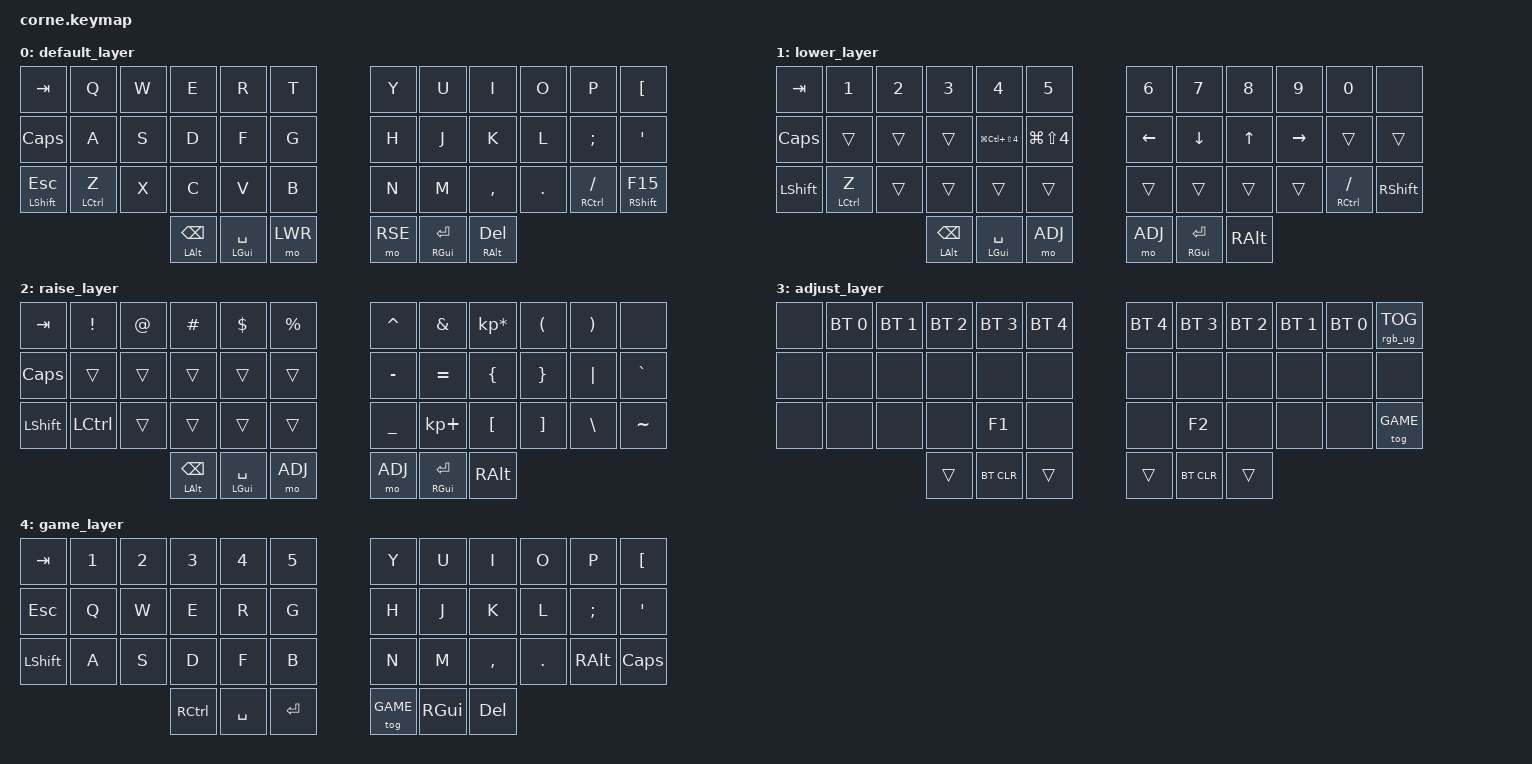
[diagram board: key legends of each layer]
/*
 * Copyright (c) 2020 The ZMK Contributors
 *
 * SPDX-License-Identifier: MIT
 */

#include <behaviors.dtsi>
#include <dt-bindings/zmk/keys.h>
#include <dt-bindings/zmk/bt.h>
#include <dt-bindings/zmk/rgb.h>

#define DFLT 0
#define LWR 1
#define RSE 2
#define ADJ 3
#define GAME 4

#define NONE 0

/ {
        keymap {
                compatible = "zmk,keymap";

                default_layer {
// -----------------------------------------------------------------------------------------
// |  TAB |  Q  |  W  |  E  |  R  |  T  |   |  Y  |  U   |  I  |  O  |  P  | [    |
// | CAPS |  A  |  S  |  D  |  F  |  G  |   |  H  |  J   |  K  |  L  |  ;  |  '   |
// | SHFT F16 |  Z  |  X  |  C  |  V  |  B  |   |  N  |  M   |  ,  |  .  |  /  | SHFT F17|
//                    | GUI | SPC | LWR |   | ENT | RSE  | ALT |
                        bindings = <
   &kp TAB   &kp Q       &kp W &kp E &kp R &kp T   &kp Y &kp U  &kp I     &kp O   &kp P    &kp LBKT
   &kp CAPS  &kp A       &kp S &kp D &kp F &kp G   &kp H &kp J  &kp K     &kp L   &kp SEMI &kp SQT
   &mt LSHFT ESC  &mt LCTRL Z &kp X &kp C &kp V &kp B   &kp N &kp M  &kp COMMA &kp DOT &mt RCTRL FSLH &mt RSHFT F15
        &mt LALT BSPC &mt LGUI SPACE &mo LWR     &mo RSE &mt RGUI RET &mt RALT DEL
                        >;
                };
                lower_layer {
// -----------------------------------------------------------------------------------------
// |  TAB |  1  |  2  |  3  |  4        |  5  |   |  6  |  7  |  8  |  9  |  0  |      |
// | CAPS |     |     |     | sreenshot |     |   | LFT | DWN |  UP | RGT |     |      |
// | SHFT |  LCTRL Z |     |     |           |     |   |     |     |     |     |     |      |
//                    | GUI |           | SPC |   | ENT |     | ALT |
                        bindings = <
   &kp TAB  &kp N1       &kp N2      &kp N3    &kp N4                 &kp N5                  &kp N6   &kp N7   &kp N8 &kp N9    &kp N0 &none 
   &kp CAPS   &trans       &trans      &trans    &kp LG(LC(LS(N4)))     &kp LG(LS(N4))          &kp LEFT &kp DOWN &kp UP &kp RIGHT &trans &trans
   &kp LSHFT  &mt LCTRL Z    &trans      &trans    &trans                 &trans                  &trans   &trans   &trans &trans    &mt RCTRL FSLH  &kp RSHFT 
                           &mt LALT BSPC    &mt LGUI SPACE     &mo ADJ                          &mo ADJ  &mt RGUI RET &kp RALT
                        >;
                };

                raise_layer {
// ------------------------------------------------------------------------------------------
// |  TAB |  !  |  @  |  #  |  $  |  %  |   |  ^  |  &  |  *  |  (  |  )  | BKSP |
// | CTRL |     |     |     |     |     |   |  -  |  =  |  {  |  }  | "|" |  `   |
// | SHFT |     |     |     |     |     |   |  _  |  +  |  [  |  ]  |  \ |  ~  | // TODO: Fix this row when &mkp is committed
//                    | GUI |     | SPC |   | ENT |     | ALT |
                        bindings = <
   &kp  TAB  &kp EXCL  &kp AT  &kp HASH  &kp DLLR  &kp PRCNT               &kp CARET  &kp AMPS      &kp KP_MULTIPLY  &kp LPAR    &kp RPAR &none 
   &kp CAPS  &trans    &trans  &trans    &trans    &trans                  &kp MINUS  &kp EQUAL     &kp LBRC         &kp RBRC    &kp PIPE &kp GRAVE
   &kp LSHFT &kp LCTRL &trans  &trans    &trans    &trans                  &kp UNDER  &kp KP_PLUS   &kp LBKT         &kp RBKT    &kp BSLH &kp TILDE
                                   &mt LALT BSPC &mt LGUI SPACE &mo ADJ    &mo ADJ &mt RGUI RET &kp RALT
                        >;
                };

                adjust_layer {
// -----------------------------------------------------------------------------------------------
//       | RGBTOG| BT0 | BT1 | BT2 | BT3  | BT4 |   | BT4 | BT3  | BT2 | BT1 | BT0 |       |                          
//       |       |     |     |     |      |     |   |     |      |     |     |     |       |
//       |       |     |     |     | F1   |     |   |     | F2   |     |     |     |       |
//                           |     | BTCLR|     |   |     | BTCLR|     |
                        bindings = <
   &none   &bt BT_SEL 0    &bt BT_SEL 1    &bt BT_SEL 2    &bt BT_SEL 3 &bt BT_SEL 4   &bt BT_SEL 4 &bt BT_SEL 3 &bt BT_SEL 2    &bt BT_SEL 1    &bt BT_SEL 0    &rgb_ug RGB_TOG
   &none   &none           &none           &none           &none        &none          &none        &none        &none           &none           &none           &none 
   &none   &none           &none           &none           &kp F1       &none          &none        &kp F2       &none           &none           &none           &tog GAME 
                                                                 &trans &bt BT_CLR &trans         &trans &bt BT_CLR &trans
                        >;
                };
                game_layer {
// -----------------------------------------------------------------------------------------
// |   TAB   |    1    |    2    |    3    |    4    |    5    |   |    Y    |    U    |    I    |    O    |    P    |   [     |
// |   CAPS  |    Q    |    W    |    E    |    R    |    T    |   |    H    |    J    |    K    |    L    |    ;    |    '    |
// |   SHFT  |    A    |    S    |    D    |    F    |    G    |   |    N    |    M    |    ,    |    .    |    RALT |   CAPS  |
//                               |  LCTRL  |   SPC   |   RET   |   |   ENT   |   RSE   |   ALT   |
                        bindings = <
   &kp TAB      &kp N1    &kp N2   &kp N3    &kp N4    &kp N5         &kp Y     &kp U      &kp I     &kp O    &kp P     &kp LBKT
   &kp ESC      &kp Q     &kp W    &kp E     &kp R     &kp G          &kp H     &kp J      &kp K     &kp L    &kp SEMI  &kp SQT
   &kp LSHFT    &kp A     &kp S    &kp D     &kp F     &kp B          &kp N     &kp M      &kp COMMA &kp DOT  &kp RALT  &kp CAPS
                                    &kp RCTRL &kp SPACE &kp RET       &tog GAME &kp RGUI   &kp DEL
                        >;
                };
        };
        
};
